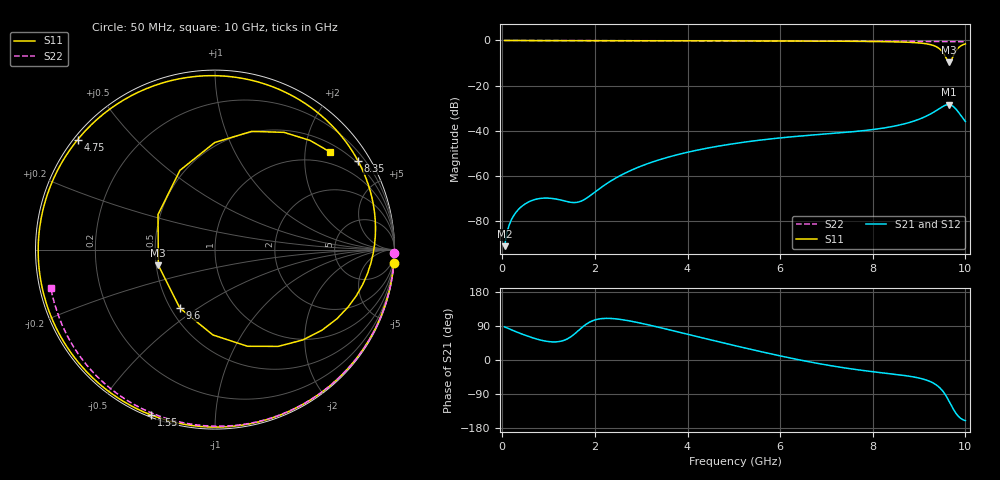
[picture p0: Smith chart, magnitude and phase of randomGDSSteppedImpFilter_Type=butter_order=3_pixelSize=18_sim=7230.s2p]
! freq	dB(S11)	phase(S11)	dB(S12)	phase(S12)
!  dB(S21)	phase(S21)	dB(S22)	phase(S22)
!S-par simulation data
#  GHz  S  DB  R 50
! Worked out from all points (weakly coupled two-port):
!   200 points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, 50 MHz to 10 GHz, reference 50 ohm
!   highest |S21| = -28.31 dB at 9.65 GHz (marker M1); lowest = -90.9 dB at 50 MHz (marker M2)
!   lowest |S11| = -9.7 dB at 9.65 GHz (marker M3), VSWR 1.97, Z = 25.7 - j4.97 ohm
!   |S11| at or under -10 dB: nowhere
!   |S22| runs from -0.5 to 0.0 dB; largest |S21 - S12| = 0
!   S11 on the Smith chart (normalised r, x): 50 MHz: 0, -26; 1.55 GHz: 0.01, -0.69; 4.75 GHz: 0.01, +0.35; 8.35 GHz: 0.43, +3.48; 9.6 GHz: 0.56, -0.42; 10 GHz: 0.69, +2.56
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0.05  -0.00 -4.4  -90.92 87.5  -90.92 87.5  -0.00 -1.0
0.15  -0.02 -13.1  -81.50 82.1  -81.50 82.1  -0.00 -2.9
0.35  -0.04 -30.0  -74.66 71.9  -74.66 71.9  -0.01 -6.8
0.75  -0.07 -61.5  -70.08 55.0  -70.08 55.0  -0.02 -14.4
1.1  -0.09 -85.3  -69.89 47.7  -69.89 47.7  -0.03 -21.1
1.55  -0.10 -111.1  -71.65 67.7  -71.65 67.7  -0.04 -29.6
1.75  -0.11 -121.0  -70.56 88.8  -70.56 88.8  -0.04 -33.3
2.5  -0.12 -151.9  -60.25 107.9  -60.25 107.9  -0.06 -47.1
3.4  -0.13 178.8  -52.68 85.7  -52.68 85.7  -0.08 -63.1
4.75  -0.17 141.4  -46.42 45.8  -46.42 45.8  -0.13 -85.9
5.05  -0.18 133.4  -45.46 37.1  -45.46 37.1  -0.14 -90.8
6.7  -0.28 87.5  -41.79 -6.5  -41.79 -6.5  -0.23 -116.7
7.55  -0.37 60.9  -40.37 -23.7  -40.37 -23.7  -0.29 -129.6
8.35  -0.56 31.7  -38.31 -35.9  -38.31 -35.9  -0.36 -141.6
8.85  -0.89 7.9  -35.88 -44.1  -35.88 -44.1  -0.42 -149.1
9.2  -1.63 -18.0  -33.01 -54.8  -33.01 -54.8  -0.46 -154.5
9.45  -3.83 -56.9  -29.98 -73.7  -29.98 -73.7  -0.49 -158.3
9.6  -8.40 -121.0  -28.40 -98.1  -28.40 -98.1  -0.50 -160.6
9.65  -9.69 -164.7  -28.31 -109.2  -28.31 -109.2  -0.51 -161.4
9.7  -8.57 148.4  -28.63 -120.8  -28.63 -120.8  -0.51 -162.1
9.8  -4.48 90.1  -30.43 -141.3  -30.43 -141.3  -0.52 -163.7
10  -1.51 40.3  -35.80 -160.0  -35.80 -160.0  -0.55 -166.9
